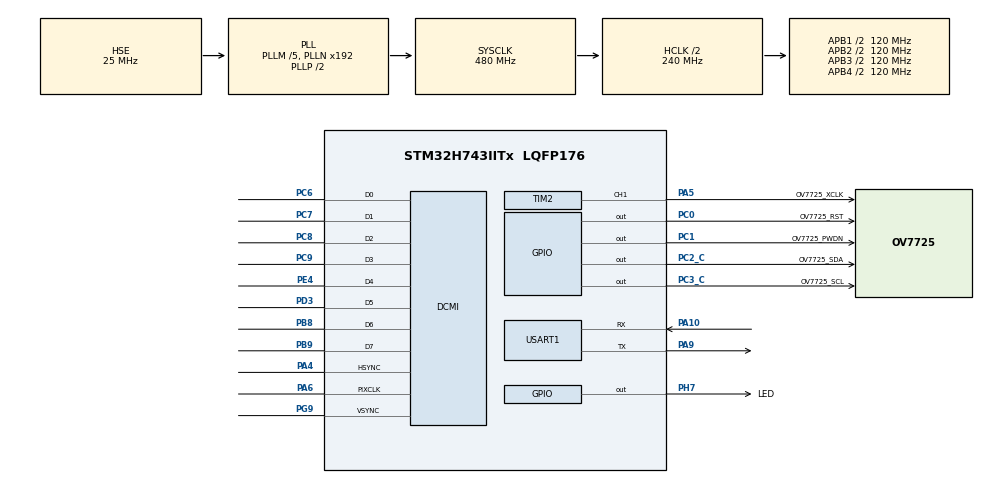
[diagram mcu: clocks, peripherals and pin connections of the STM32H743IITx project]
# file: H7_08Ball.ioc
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CORTEX_M7.CPU_DCache=Enabled
CORTEX_M7.CPU_ICache=Enabled
DCMI.CaptureRate=DCMI_CR_ALL_FRAME
DCMI.HSPolarity=DCMI_HSPOLARITY_LOW
DCMI.JPEGMode=DCMI_JPEG_DISABLE
DCMI.PCKPolarity=DCMI_PCKPOLARITY_RISING
DCMI.VSPolarity=DCMI_VSPOLARITY_HIGH
Dma.DCMI.0.Direction=DMA_PERIPH_TO_MEMORY
Dma.DCMI.0.EventEnable=DISABLE
Dma.DCMI.0.FIFOMode=DMA_FIFOMODE_ENABLE
Dma.DCMI.0.FIFOThreshold=DMA_FIFO_THRESHOLD_FULL
Dma.DCMI.0.Instance=DMA1_Stream0
Dma.DCMI.0.MemBurst=DMA_MBURST_SINGLE
Dma.DCMI.0.MemDataAlignment=DMA_MDATAALIGN_WORD
Dma.DCMI.0.MemInc=DMA_MINC_ENABLE
Dma.DCMI.0.Mode=DMA_CIRCULAR
Dma.DCMI.0.PeriphBurst=DMA_PBURST_SINGLE
Dma.DCMI.0.PeriphDataAlignment=DMA_PDATAALIGN_WORD
Dma.DCMI.0.PeriphInc=DMA_PINC_DISABLE
Dma.DCMI.0.Polarity=HAL_DMAMUX_REQ_GEN_RISING
Dma.DCMI.0.Priority=DMA_PRIORITY_HIGH
Dma.DCMI.0.RequestNumber=1
Dma.DCMI.0.SignalID=NONE
Dma.DCMI.0.SyncEnable=DISABLE
Dma.DCMI.0.SyncPolarity=HAL_DMAMUX_SYNC_NO_EVENT
Dma.DCMI.0.SyncRequestNumber=1
Dma.DCMI.0.SyncSignalID=NONE
Dma.Request0=DCMI
Mcu.Family=STM32H7
Mcu.Name=STM32H743IITx
Mcu.Package=LQFP176
NVIC.DCMI_IRQn=true\:0\:0\:false\:false\:true\:true\:true\:true
NVIC.DMA1_Stream0_IRQn=true\:0\:0\:false\:false\:true\:false\:true\:true
NVIC.PriorityGroup=NVIC_PRIORITYGROUP_4
PA10.Mode=Asynchronous
PA10.Signal=USART1_RX
PA13\ (JTMS/SWDIO).Mode=Serial_Wire
PA13\ (JTMS/SWDIO).Signal=DEBUG_JTMS-SWDIO
PA14\ (JTCK/SWCLK).Mode=Serial_Wire
PA14\ (JTCK/SWCLK).Signal=DEBUG_JTCK-SWCLK
PA4.Mode=Slave_8_bits_External_Synchro
PA4.Signal=DCMI_HSYNC
PA5.GPIO_Label=OV7725_XCLK
PA5.GPIO_Speed=GPIO_SPEED_FREQ_VERY_HIGH
PA5.Signal=S_TIM2_CH1_ETR
PA6.Mode=Slave_8_bits_External_Synchro
PA6.Signal=DCMI_PIXCLK
PA9.Mode=Asynchronous
PA9.Signal=USART1_TX
PB8.Mode=Slave_8_bits_External_Synchro
PB8.Signal=DCMI_D6
PB9.Mode=Slave_8_bits_External_Synchro
PB9.Signal=DCMI_D7
PC0.GPIO_Label=OV7725_RST
PC0.GPIO_ModeDefaultOutputPP=GPIO_MODE_OUTPUT_PP
PC0.GPIO_PuPd=GPIO_PULLUP
PC0.PinState=GPIO_PIN_SET
PC0.Signal=GPIO_Output
PC1.GPIO_Label=OV7725_PWDN
PC1.GPIO_ModeDefaultOutputPP=GPIO_MODE_OUTPUT_PP
PC1.GPIO_PuPd=GPIO_PULLDOWN
PC1.PinState=GPIO_PIN_RESET
PC1.Signal=GPIO_Output
PC2_C.GPIO_Label=OV7725_SDA
PC2_C.GPIO_ModeDefaultOutputPP=GPIO_MODE_OUTPUT_OD
PC2_C.GPIO_PuPd=GPIO_NOPULL
PC2_C.GPIO_Speed=GPIO_SPEED_FREQ_VERY_HIGH
PC2_C.Signal=GPIO_Output
PC3_C.GPIO_Label=OV7725_SCL
PC3_C.GPIO_ModeDefaultOutputPP=GPIO_MODE_OUTPUT_OD
PC3_C.GPIO_PuPd=GPIO_NOPULL
PC3_C.GPIO_Speed=GPIO_SPEED_FREQ_VERY_HIGH
PC3_C.PinState=GPIO_PIN_RESET
PC3_C.Signal=GPIO_Output
PC6.Mode=Slave_8_bits_External_Synchro
PC6.Signal=DCMI_D0
PC7.Mode=Slave_8_bits_External_Synchro
PC7.Signal=DCMI_D1
PC8.Mode=Slave_8_bits_External_Synchro
PC8.Signal=DCMI_D2
PC9.Mode=Slave_8_bits_External_Synchro
PC9.Signal=DCMI_D3
PD3.Mode=Slave_8_bits_External_Synchro
PD3.Signal=DCMI_D5
PE4.Mode=Slave_8_bits_External_Synchro
PE4.Signal=DCMI_D4
PG9.Mode=Slave_8_bits_External_Synchro
PG9.Signal=DCMI_VSYNC
PH0-OSC_IN\ (PH0).Mode=HSE-External-Oscillator
PH0-OSC_IN\ (PH0).Signal=RCC_OSC_IN
PH1-OSC_OUT\ (PH1).Mode=HSE-External-Oscillator
PH1-OSC_OUT\ (PH1).Signal=RCC_OSC_OUT
PH7.GPIO_Label=LED
PH7.GPIO_PuPd=GPIO_PULLUP
PH7.GPIO_Speed=GPIO_SPEED_FREQ_VERY_HIGH
PH7.PinState=GPIO_PIN_RESET
PH7.Signal=GPIO_Output
ProjectManager.HeapSize=0x200
ProjectManager.StackSize=0x400
ProjectManager.TargetToolchain=STM32CubeIDE
RCC.ADCFreq_Value=50390625
RCC.APB1Freq_Value=120000000
RCC.APB2Freq_Value=120000000
RCC.APB3Freq_Value=120000000
RCC.APB4Freq_Value=120000000
RCC.CortexFreq_Value=480000000
RCC.D1PPRE=RCC_APB3_DIV2
RCC.D2PPRE1=RCC_APB1_DIV2
RCC.D2PPRE2=RCC_APB2_DIV2
RCC.D3PPRE=RCC_APB4_DIV2
RCC.DIVM1=5
RCC.DIVM3=25
RCC.DIVN1=192
RCC.DIVN3=330
RCC.HCLKFreq_Value=240000000
RCC.HPRE=RCC_HCLK_DIV2
RCC.HSE_VALUE=25000000
RCC.PLL2FRACN=0
RCC.PLLFRACN=0
RCC.PLLSourceVirtual=RCC_PLLSOURCE_HSE
RCC.SYSCLKFreq_VALUE=480000000
RCC.SYSCLKSource=RCC_SYSCLKSOURCE_PLLCLK
RCC.USBFreq_Value=480000000
SH.S_TIM2_CH1_ETR.0=TIM2_CH1,PWM Generation1 CH1
TIM2.Channel-PWM\ Generation1\ CH1=TIM_CHANNEL_1
TIM2.Period=1
TIM2.Prescaler=20-1
TIM2.Pulse-PWM\ Generation1\ CH1=1
USART1.VirtualMode-Asynchronous=VM_ASYNC
VP_TIM2_VS_ClockSourceINT.Mode=Internal
board=custom

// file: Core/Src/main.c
/* USER CODE BEGIN Header */
/**
  ******************************************************************************
  * @file           : main.c
  * @brief          : Main program body
  ******************************************************************************
  * @attention
  *
  * <h2><center>&copy; Copyright (c) 2021 STMicroelectronics.
  * All rights reserved.</center></h2>
  *
  * This software component is licensed by ST under BSD 3-Clause license,
  * the "License"; You may not use this file except in compliance with the
  * License. You may obtain a copy of the License at:
  *                        opensource.org/licenses/BSD-3-Clause
  *
  ******************************************************************************
  */
/* USER CODE END Header */
#include "main.h"
#include "dcmi.h"
#include "dma.h"
#include "tim.h"
#include "usart.h"
#include "gpio.h"

/* USER CODE BEGIN Includes */
#include "../../BSP/LCD/lcd_rgb.h"
#include "../../BSP/LCD/touch.h"
#include "../../BSP/W25Q64/qspi_w25q64.h"
#include "../../BSP/bsp.h"
#include "ov7725.h"
/* USER CODE END Includes */

void SystemClock_Config(void);
/* USER CODE BEGIN PFP */
void SystemClock_Config_Fix(void);
/* USER CODE END PFP */

/* USER CODE BEGIN 0 */
#include "stdio.h"
int __io_putchar(int ch)
{
    HAL_UART_Transmit(&huart1, (uint8_t *)&ch, 1, 0xFFFF);
    return ch;
}

uint8_t frameBuffer[240][320][2];

uint16_t Fix(uint8_t pixel[2])
{
	uint8_t R = pixel[0] >> 3;
	uint8_t G = ((uint8_t)(pixel[0] << 5) >> 2) + (pixel[1] >> 5);
	uint8_t B = (uint8_t)(pixel[1] << 3) >> 3;

	uint8_t Gray = ((R << 1) + G + (B << 1))/3; //灰度值

	R = Gray >> 1;
	G = Gray;
	B = Gray >> 1;

	return (uint16_t)(R << 11) + (uint16_t)(G << 5) + (uint16_t)B;
}
/* USER CODE END 0 */

int main(void)
{

  /* Enable I-Cache---------------------------------------------------------*/
  SCB_EnableICache();

  /* Enable D-Cache---------------------------------------------------------*/
  SCB_EnableDCache();

  /* MCU Configuration--------------------------------------------------------*/

  /* Reset of all peripherals, Initializes the Flash interface and the Systick. */
  HAL_Init();

  /* USER CODE BEGIN Init */
#ifdef USE_Default_Clock_Config
  /* USER CODE END Init */

  /* Configure the system clock */
  SystemClock_Config();

  /* USER CODE BEGIN SysInit */
#endif
  SystemClock_Config_Fix();
  BSP_Init();
  /* USER CODE END SysInit */

  /* Initialize all configured peripherals */
  MX_GPIO_Init();
  MX_USART1_UART_Init();
  MX_DMA_Init();
  MX_TIM2_Init();
  MX_DCMI_Init();
  /* USER CODE BEGIN 2 */
  delay_init(480);

  LCD_SetColor(0xff333333);					//	设置画笔色，使用自定义颜色
  LCD_SetBackColor(0xff00ff); 			//	设置背景色，使用自定义颜色
  LCD_Clear(); 									//	清屏，刷背景色

  LCD_SetTextFont(&CH_Font32);
//  LCD_DisplayText( 42, 20,"电容触摸测试");
//  LCD_DisplayText( 42, 70,"核心板型号：FK743M1-IIT6");
//  LCD_DisplayText( 42, 120,"屏幕分辨率：800*480");
//
//
//
//  LCD_DisplayString(44, 170,"X1:       Y1:");
//  LCD_DisplayString(44, 220,"X2:       Y2:");
//  LCD_DisplayString(44, 270,"X3:       Y3:");
//  LCD_DisplayString(44, 320,"X4:       Y4:");
//  LCD_DisplayString(44, 370,"X5:       Y5:");

  LCD_SetColor(LCD_RED);	//设置画笔颜色

  HAL_TIM_PWM_Start(&htim2, TIM_CHANNEL_1);
  OV7725_Init();
  HAL_DCMI_Start_DMA(&hdcmi, DCMI_MODE_CONTINUOUS, ((uint32_t)frameBuffer), 320*240/2);
  /* USER CODE END 2 */

  /* Infinite loop */
  while (1)
  {

  }
}

void SystemClock_Config(void)
{
  RCC_OscInitTypeDef RCC_OscInitStruct = {0};
  RCC_ClkInitTypeDef RCC_ClkInitStruct = {0};

  /** Supply configuration update enable
  */
  HAL_PWREx_ConfigSupply(PWR_LDO_SUPPLY);

  /** Configure the main internal regulator output voltage
  */
  __HAL_PWR_VOLTAGESCALING_CONFIG(PWR_REGULATOR_VOLTAGE_SCALE0);

  while(!__HAL_PWR_GET_FLAG(PWR_FLAG_VOSRDY)) {}

  /** Initializes the RCC Oscillators according to the specified parameters
  * in the RCC_OscInitTypeDef structure.
  */
  RCC_OscInitStruct.OscillatorType = RCC_OSCILLATORTYPE_HSE;
  RCC_OscInitStruct.HSEState = RCC_HSE_ON;
  RCC_OscInitStruct.PLL.PLLState = RCC_PLL_ON;
  RCC_OscInitStruct.PLL.PLLSource = RCC_PLLSOURCE_HSE;
  RCC_OscInitStruct.PLL.PLLM = 5;
  RCC_OscInitStruct.PLL.PLLN = 192;
  RCC_OscInitStruct.PLL.PLLP = 2;
  RCC_OscInitStruct.PLL.PLLQ = 2;
  RCC_OscInitStruct.PLL.PLLR = 2;
  RCC_OscInitStruct.PLL.PLLRGE = RCC_PLL1VCIRANGE_2;
  RCC_OscInitStruct.PLL.PLLVCOSEL = RCC_PLL1VCOWIDE;
  RCC_OscInitStruct.PLL.PLLFRACN = 0;
  if (HAL_RCC_OscConfig(&RCC_OscInitStruct) != HAL_OK)
  {
    Error_Handler();
  }

  /** Initializes the CPU, AHB and APB buses clocks
  */
  RCC_ClkInitStruct.ClockType = RCC_CLOCKTYPE_HCLK|RCC_CLOCKTYPE_SYSCLK
                              |RCC_CLOCKTYPE_PCLK1|RCC_CLOCKTYPE_PCLK2
                              |RCC_CLOCKTYPE_D3PCLK1|RCC_CLOCKTYPE_D1PCLK1;
  RCC_ClkInitStruct.SYSCLKSource = RCC_SYSCLKSOURCE_PLLCLK;
  RCC_ClkInitStruct.SYSCLKDivider = RCC_SYSCLK_DIV1;
  RCC_ClkInitStruct.AHBCLKDivider = RCC_HCLK_DIV2;
  RCC_ClkInitStruct.APB3CLKDivider = RCC_APB3_DIV2;
  RCC_ClkInitStruct.APB1CLKDivider = RCC_APB1_DIV2;
  RCC_ClkInitStruct.APB2CLKDivider = RCC_APB2_DIV2;
  RCC_ClkInitStruct.APB4CLKDivider = RCC_APB4_DIV2;

  if (HAL_RCC_ClockConfig(&RCC_ClkInitStruct, FLASH_LATENCY_4) != HAL_OK)
  {
    Error_Handler();
  }
}

/* USER CODE BEGIN 4 */

void DCMI_DMA_XferCpltCallback(DMA_HandleTypeDef * hdma)
{
//	HAL_DCMI_Stop(&hdcmi);
//	for(uint16_t i=0; i<240; i++) {
//		for(uint16_t j=0; j<240; j++) {
////			uint8_t data[2] = {frameBuffer[j][i][1], frameBuffer[j][i][0]};
//			uint16_t data = Fix(frameBuffer[j][i]);
//
//			LCD_DrawPoint(i*2  ,j*2  , *(uint16_t *)&data);
//			LCD_DrawPoint(i*2+1,j*2  , *(uint16_t *)&data);
//			LCD_DrawPoint(i*2  ,j*2+1, *(uint16_t *)&data);
//			LCD_DrawPoint(i*2+1,j*2+1, *(uint16_t *)&data);
//		}
//	}
//	HAL_DCMI_Start_DMA(&hdcmi, DCMI_MODE_CONTINUOUS, ((uint32_t)frameBuffer), 240*240/2);
}

void HAL_DCMI_FrameEventCallback(DCMI_HandleTypeDef *hdcmi)
{
	for(uint16_t i=0; i<240; i++) {
		for(uint16_t j=0; j<320; j++) {
			uint8_t data[2] = {frameBuffer[j][i][1], frameBuffer[j][i][0]}; 	//原始图像
//			uint16_t data = Fix(frameBuffer[j][i]);								//转灰度值图像

			LCD_DrawPoint(i*2  ,j*2  , *(uint16_t *)&data);
			LCD_DrawPoint(i*2+1,j*2  , *(uint16_t *)&data);
			LCD_DrawPoint(i*2  ,j*2+1, *(uint16_t *)&data);
			LCD_DrawPoint(i*2+1,j*2+1, *(uint16_t *)&data);
		}
	}
  /* Prevent unused argument(s) compilation warning */
}

void SystemClock_Config_Fix(void)
{
  RCC_OscInitTypeDef RCC_OscInitStruct = {0};
  RCC_ClkInitTypeDef RCC_ClkInitStruct = {0};
  RCC_PeriphCLKInitTypeDef PeriphClkInitStruct = {0};

  /** Supply configuration update enable
  */
  HAL_PWREx_ConfigSupply(PWR_LDO_SUPPLY);
  /** Configure the main internal regulator output voltage
  */
  __HAL_PWR_VOLTAGESCALING_CONFIG(PWR_REGULATOR_VOLTAGE_SCALE0);

  while(!__HAL_PWR_GET_FLAG(PWR_FLAG_VOSRDY)) {}
  /** Macro to configure the PLL clock source
  */
  __HAL_RCC_PLL_PLLSOURCE_CONFIG(RCC_PLLSOURCE_HSE);
  /** Initializes the RCC Oscillators according to the specified parameters
  * in the RCC_OscInitTypeDef structure.
  */
  RCC_OscInitStruct.OscillatorType = RCC_OSCILLATORTYPE_HSE;
  RCC_OscInitStruct.HSEState = RCC_HSE_ON;
  RCC_OscInitStruct.PLL.PLLState = RCC_PLL_ON;
  RCC_OscInitStruct.PLL.PLLSource = RCC_PLLSOURCE_HSE;
  RCC_OscInitStruct.PLL.PLLM = 5;
  RCC_OscInitStruct.PLL.PLLN = 192;
  RCC_OscInitStruct.PLL.PLLP = 2;
  RCC_OscInitStruct.PLL.PLLQ = 2;
  RCC_OscInitStruct.PLL.PLLR = 2;
  RCC_OscInitStruct.PLL.PLLRGE = RCC_PLL1VCIRANGE_2;
  RCC_OscInitStruct.PLL.PLLVCOSEL = RCC_PLL1VCOWIDE;
  RCC_OscInitStruct.PLL.PLLFRACN = 0;
  if (HAL_RCC_OscConfig(&RCC_OscInitStruct) != HAL_OK)
  {
    Error_Handler();
  }
  /** Initializes the CPU, AHB and APB buses clocks
  */
  RCC_ClkInitStruct.ClockType = RCC_CLOCKTYPE_HCLK|RCC_CLOCKTYPE_SYSCLK
                              |RCC_CLOCKTYPE_PCLK1|RCC_CLOCKTYPE_PCLK2
                              |RCC_CLOCKTYPE_D3PCLK1|RCC_CLOCKTYPE_D1PCLK1;
  RCC_ClkInitStruct.SYSCLKSource = RCC_SYSCLKSOURCE_PLLCLK;
  RCC_ClkInitStruct.SYSCLKDivider = RCC_SYSCLK_DIV1;
  RCC_ClkInitStruct.AHBCLKDivider = RCC_HCLK_DIV2;
  RCC_ClkInitStruct.APB3CLKDivider = RCC_APB3_DIV2;
  RCC_ClkInitStruct.APB1CLKDivider = RCC_APB1_DIV2;
  RCC_ClkInitStruct.APB2CLKDivider = RCC_APB2_DIV2;
  RCC_ClkInitStruct.APB4CLKDivider = RCC_APB4_DIV2;

  if (HAL_RCC_ClockConfig(&RCC_ClkInitStruct, FLASH_LATENCY_4) != HAL_OK)
  {
    Error_Handler();
  }

  /* 设置LTDC时钟，这里设置为33MHz，即刷新率在60帧左右，过高或者过低都会造成闪烁 */
  /* LCD clock configuration */
  /* PLL3_VCO Input = HSE_VALUE/PLL3M = 1 Mhz */
  /* PLL3_VCO Output = PLL3_VCO Input * PLL3N = 330 Mhz */
  /* PLLLCDCLK = PLL3_VCO Output/PLL3R = 330/10 = 33 Mhz */
  /* LTDC clock frequency = PLLLCDCLK = 33 Mhz */

  PeriphClkInitStruct.PLL3.PLL3M = 25;
  PeriphClkInitStruct.PLL3.PLL3N = 330;
  PeriphClkInitStruct.PLL3.PLL3P = 2;
  PeriphClkInitStruct.PLL3.PLL3Q = 2;
  PeriphClkInitStruct.PLL3.PLL3R = 10;
  PeriphClkInitStruct.PLL3.PLL3RGE = RCC_PLL3VCIRANGE_0;
  PeriphClkInitStruct.PLL3.PLL3VCOSEL = RCC_PLL3VCOMEDIUM;
  PeriphClkInitStruct.PLL3.PLL3FRACN = 0;

  PeriphClkInitStruct.PeriphClockSelection = RCC_PERIPHCLK_LTDC|RCC_PERIPHCLK_USART1|RCC_PERIPHCLK_FMC;
  PeriphClkInitStruct.FmcClockSelection = RCC_FMCCLKSOURCE_D1HCLK;
  PeriphClkInitStruct.Usart16ClockSelection = RCC_USART16CLKSOURCE_D2PCLK2;
  if (HAL_RCCEx_PeriphCLKConfig(&PeriphClkInitStruct) != HAL_OK)
  {
    Error_Handler();
  }
}
/* USER CODE END 4 */

void Error_Handler(void)
{
  __disable_irq();
  while (1)
  {
  }
}
